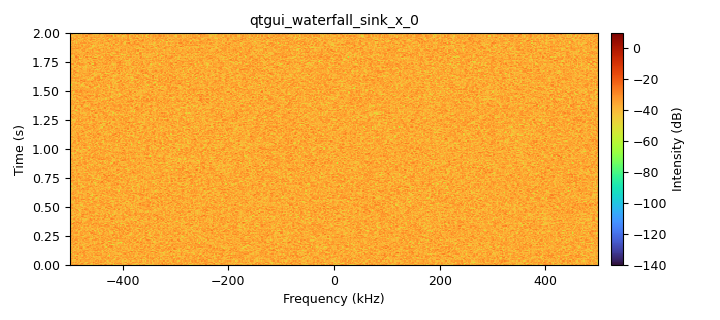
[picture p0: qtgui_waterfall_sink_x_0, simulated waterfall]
options:
  parameters:
    author: Matthew Nelson
    copyright: 2016-2021
    description: Implementation of a Software Defined Radiometer
    generate_options: qt_gui
    id: N200_TPR_2
    output_language: python
    title: N200 TPR V2
  states: {}

blocks:
- name: GUI_samp_rate
  id: variable_qtgui_chooser
  parameters:
    label: GUI Sample Rate (BW)
    label0: 1 MHz
    label1: 2 MHz
    label2: 5 MHz
    label3: 10 MHz
    label4: 15 MHz
    num_opts: '5'
    option0: int(1e6)
    option1: int(2e6)
    option2: int(5e6)
    option3: int(10e6)
    option4: int(15e6)
    orient: Qt.QHBoxLayout
    type: int
    value: int(5e6)
    widget: radio_buttons
  states: {}
- name: add_noise
  id: variable_qtgui_chooser
  parameters:
    label: Add Noise
    label0: 'Off'
    label1: 'On'
    num_opts: '2'
    option0: '"Off"'
    option1: '"On"'
    type: string
    value: '"Off"'
  states: {state: disabled}
- name: calib_1
  id: variable_qtgui_entry
  parameters:
    label: Calibration Point 1
    type: real
    value: 4.0755e3
  states: {}
- name: calib_2
  id: variable_qtgui_entry
  parameters:
    label: Calibration Point 2
    type: real
    value: '-342.774'
  states: {}
- name: clock
  id: variable
  parameters:
    value: 100e6
  states: {}
- name: dc_gain
  id: variable_qtgui_chooser
  parameters:
    label: DC Gain
    label0: '1'
    label1: '10'
    label2: '100'
    label3: '1000'
    label4: '10000'
    num_opts: '5'
    option0: '1'
    option1: '10'
    option2: '100'
    option3: '1000'
    option4: '10000'
    orient: Qt.QHBoxLayout
    type: int
    value: '1'
    widget: radio_buttons
  states: {}
- name: det_rate
  id: variable
  parameters:
    value: int(20.0)
  states: {}
- name: devid
  id: variable
  parameters:
    value: '"addr=192.168.10.2"'
  states: {}
- name: fftrate
  id: variable
  parameters:
    value: int(samp_rate/fftsize)
  states: {}
- name: fftsize
  id: variable
  parameters:
    value: '8192'
  states: {}
- name: file_rate
  id: variable
  parameters:
    value: '2.0'
  states: {}
- name: freq
  id: variable_qtgui_entry
  parameters:
    label: Center Frequency
    type: real
    value: 1.415e9
  states: {}
- name: frequency
  id: variable
  parameters:
    value: 1.4125e9
  states: {}
- name: gain
  id: variable_qtgui_range
  parameters:
    label: RF Gain (dB)
    orient: Qt.Horizontal
    start: '0'
    step: '1'
    stop: '50'
    value: '15'
  states: {}
- name: integ
  id: variable_qtgui_range
  parameters:
    orient: Qt.Horizontal
    start: '1'
    step: '.5'
    stop: '60'
    value: '2'
  states: {}
- name: noise_amplitude
  id: variable_qtgui_range
  parameters:
    label: Noise Amplitutde
    orient: Qt.Horizontal
    start: '0.01'
    step: '.01'
    stop: '2'
    value: '1'
  states: {}
- name: prefix
  id: variable
  parameters:
    value: '"tpr_"'
  states: {}
- name: rec_button_iq
  id: variable_qtgui_push_button
  parameters:
    pressed: '1'
    released: '0'
    type: int
    value: '0'
  states: {state: disabled}
- name: rec_button_tpr
  id: variable_qtgui_push_button
  parameters:
    pressed: '1'
    released: '0'
    type: bool
    value: '0'
  states: {state: disabled}
- name: recfile_kelvin
  id: variable
  parameters:
    value: prefix+"kelvin" + datetime.now().strftime("%Y.%m.%d.%H.%M.%S") + ".dat"
  states: {}
- name: recfile_tpr
  id: variable
  parameters:
    value: prefix + datetime.now().strftime("%Y.%m.%d.%H.%M.%S") + ".dat"
  states: {}
- name: samp_rate
  id: variable
  parameters:
    value: 1e6
  states: {}
- name: samp_rate_0
  id: variable
  parameters:
    value: int(GUI_samp_rate)
  states: {}
- name: scope_rate
  id: variable
  parameters:
    value: '2'
  states: {}
- name: spavg
  id: variable_qtgui_range
  parameters:
    label: '"Spectral Averaging"'
    orient: Qt.Horizontal
    start: '1'
    step: '1'
    stop: '20'
    value: '5'
    widget: dial
  states: {}
- name: spec_data_fifo
  id: variable
  parameters:
    value: '"spectrum_" + datetime.now().strftime("%Y.%m.%d.%H.%M.%S") + ".dat"'
  states: {}
- name: subdev
  id: variable
  parameters:
    value: '"A:0"'
  states: {}
- name: text_Device_addr
  id: variable_qtgui_label
  parameters:
    label: Device IP
    type: int
    value: '0'
  states: {}
- name: text_USRP_Clock
  id: variable_qtgui_label
  parameters:
    label: USRP Clock
    type: real
    value: 100e6
  states: {}
- name: text_deviceID
  id: variable_qtgui_label
  parameters:
    label: Device ID
    type: int
    value: '0'
  states: {}
- name: text_samp_rate
  id: variable_qtgui_label
  parameters:
    label: Device Sample Rate
    type: int
    value: '0'
  states: {}
- name: TPR_0
  id: TPR
  parameters:
    det_rate: det_rate
    integ: integ
    samp_rate: samp_rate
  states: {}
- name: analog_noise_source_x_0
  id: analog_noise_source_x
  parameters:
    amp: noise_amplitude
    noise_type: analog.GR_GAUSSIAN
    seed: '0'
    type: complex
  states: {}
- name: blocks_add_const_vxx_1
  id: blocks_add_const_vxx
  parameters:
    const: calib_2
    type: float
  states: {}
- name: blocks_char_to_float_0
  id: blocks_char_to_float
  parameters:
    scale: '1'
  states: {}
- name: blocks_complex_to_real_0
  id: blocks_complex_to_real
  parameters: {}
  states: {}
- name: blocks_file_sink_0
  id: blocks_file_sink
  parameters:
    file: recfile_kelvin
    type: float
    unbuffered: 'True'
  states: {}
- name: blocks_file_sink_1
  id: blocks_file_sink
  parameters:
    file: prefix+"iq_raw" + datetime.now().strftime("%Y.%m.%d.%H.%M.%S") + ".dat"
    type: complex
  states: {state: disabled}
- name: blocks_file_sink_4
  id: blocks_file_sink
  parameters:
    file: recfile_tpr
    type: float
    unbuffered: 'True'
  states: {}
- name: blocks_file_sink_5
  id: blocks_file_sink
  parameters:
    file: spec_data_fifo
    type: float
    unbuffered: 'True'
    vlen: fftsize
  states: {}
- name: blocks_keep_one_in_n_1
  id: blocks_keep_one_in_n
  parameters:
    n: int(det_rate/file_rate)
    type: float
  states: {}
- name: blocks_keep_one_in_n_3
  id: blocks_keep_one_in_n
  parameters:
    n: fftrate
    type: float
    vlen: fftsize
  states: {}
- name: blocks_multiply_const_vxx_0
  id: blocks_multiply_const_vxx
  parameters:
    const: dc_gain
    type: float
  states: {}
- name: blocks_multiply_const_vxx_1
  id: blocks_multiply_const_vxx
  parameters:
    const: calib_1
    type: float
  states: {}
- name: blocks_mute_xx_0
  id: blocks_mute_xx
  parameters:
    mute: 'False'
    type: complex
  states: {state: disabled}
- name: blocks_peak_detector_xb_0
  id: blocks_peak_detector_xb
  parameters:
    alpha: '0.001'
    look_ahead: '10'
    threshold_factor_fall: '0.40'
    threshold_factor_rise: '0.25'
    type: float
  states: {}
- name: blocks_throttle_0
  id: blocks_throttle
  parameters:
    samples_per_second: samp_rate
    type: complex
  states: {}
- name: clock
  id: parameter
  parameters:
    label: Clock rate
    type: eng_float
    value: '100000000'
  states: {state: disabled}
- name: devid
  id: parameter
  parameters:
    label: USRP Device ID
    value: addr=192.168.10.2
  states: {state: disabled}
- name: fftsize
  id: parameter
  parameters:
    type: intx
    value: '8192'
  states: {state: disabled}
- name: frequency
  id: parameter
  parameters:
    label: Center Frequency
    type: eng_float
    value: 1.4125e9
  states: {state: disabled}
- name: import_0
  id: import
  parameters:
    imports: from datetime import datetime
  states: {}
- name: logpwrfft_x_0
  id: logpwrfft_x
  parameters:
    average: 'True'
    avg_alpha: 1.0/float(spavg*fftrate)
    fft_size: fftsize
    frame_rate: fftrate
    ref_scale: '2'
    sample_rate: samp_rate
    type: complex
  states: {}
- name: note_0_1
  id: note
  parameters:
    note: Source Signal
  states: {}
- name: note_0_1_0
  id: note
  parameters:
    note: Raw IQ File Storage
  states: {}
- name: note_0_1_0_0
  id: note
  parameters:
    note: Calibration Values
  states: {}
- name: note_1
  id: note
  parameters:
    note: DC gain
  states: {}
- name: qtgui_number_sink_0
  id: qtgui_number_sink
  parameters:
    avg: '.5'
    color1: ("blue", "red")
    color2: ("blue", "red")
    graph_type: qtgui.NUM_GRAPH_HORIZ
    label1: Raw
    label2: Decimated
    max: '10'
    min: '-5'
    name: TPR Value
    nconnections: '2'
    type: float
  states: {}
- name: qtgui_number_sink_1
  id: qtgui_number_sink
  parameters:
    graph_type: qtgui.NUM_GRAPH_HORIZ
    type: float
  states: {}
- name: qtgui_number_sink_2
  id: qtgui_number_sink
  parameters:
    avg: '.5'
    color1: ("blue", "red")
    graph_type: qtgui.NUM_GRAPH_HORIZ
    max: '300'
    min: '0'
    name: Calibrated Noise Temperature
    type: float
    unit1: K
  states: {}
- name: qtgui_tab_widget_0
  id: qtgui_tab_widget
  parameters:
    label0: All
    label1: Radio Control
    label2: Radiometer
    num_tabs: '3'
  states: {}
- name: qtgui_time_sink_x_0
  id: qtgui_time_sink_x
  parameters:
    ctrlpanel: 'True'
    grid: 'True'
    label1: Radiometer
    name: TPR Ticker Tape
    size: '1024'
    srate: '100000'
    type: float
    update_time: '0.01'
    ymax: '5'
    ymin: '0'
  states: {}
- name: qtgui_waterfall_sink_x_0
  id: qtgui_waterfall_sink_x
  parameters:
    bw: samp_rate
    fc: '0'
    fftsize: '1024'
    type: complex
  states: {}
- name: subdev
  id: parameter
  parameters:
    label: USRP Subdevice ID
    value: A:0
  states: {state: disabled}
- name: uhd_usrp_source_0
  id: uhd_usrp_source
  parameters:
    affinity: '0'
    ant0: ''
    center_freq0: freq
    clock_rate: 100e6
    dc_offs_enb0: '""'
    dev_addr: devid
    dev_args: '""'
    gain0: gain
    iq_imbal_enb0: '""'
    samp_rate: GUI_samp_rate
    sync: sync
    type: fc32
  states: {state: disabled}

connections:
- [TPR_0, '0', blocks_multiply_const_vxx_0, '0']
- [analog_noise_source_x_0, '0', blocks_throttle_0, '0']
- [blocks_add_const_vxx_1, '0', blocks_file_sink_0, '0']
- [blocks_add_const_vxx_1, '0', qtgui_number_sink_2, '0']
- [blocks_char_to_float_0, '0', qtgui_number_sink_1, '0']
- [blocks_complex_to_real_0, '0', blocks_peak_detector_xb_0, '0']
- [blocks_keep_one_in_n_1, '0', blocks_file_sink_4, '0']
- [blocks_keep_one_in_n_1, '0', blocks_multiply_const_vxx_1, '0']
- [blocks_keep_one_in_n_1, '0', qtgui_number_sink_0, '1']
- [blocks_keep_one_in_n_1, '0', qtgui_time_sink_x_0, '0']
- [blocks_keep_one_in_n_3, '0', blocks_file_sink_5, '0']
- [blocks_multiply_const_vxx_0, '0', blocks_keep_one_in_n_1, '0']
- [blocks_multiply_const_vxx_0, '0', qtgui_number_sink_0, '0']
- [blocks_multiply_const_vxx_1, '0', blocks_add_const_vxx_1, '0']
- [blocks_mute_xx_0, '0', blocks_file_sink_1, '0']
- [blocks_peak_detector_xb_0, '0', blocks_char_to_float_0, '0']
- [blocks_throttle_0, '0', TPR_0, '0']
- [blocks_throttle_0, '0', blocks_complex_to_real_0, '0']
- [blocks_throttle_0, '0', logpwrfft_x_0, '0']
- [blocks_throttle_0, '0', qtgui_waterfall_sink_x_0, '0']
- [logpwrfft_x_0, '0', blocks_keep_one_in_n_3, '0']
- [uhd_usrp_source_0, '0', TPR_0, '0']
- [uhd_usrp_source_0, '0', blocks_complex_to_real_0, '0']
- [uhd_usrp_source_0, '0', blocks_mute_xx_0, '0']
- [uhd_usrp_source_0, '0', logpwrfft_x_0, '0']
- [uhd_usrp_source_0, '0', qtgui_waterfall_sink_x_0, '0']

metadata:
  file_format: 1
